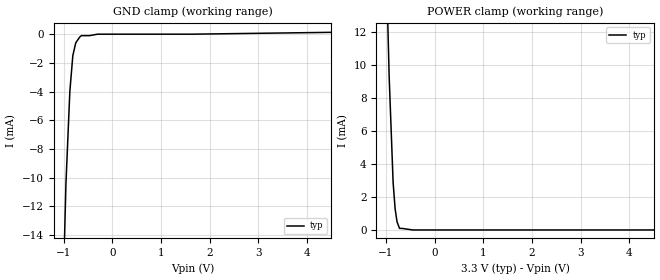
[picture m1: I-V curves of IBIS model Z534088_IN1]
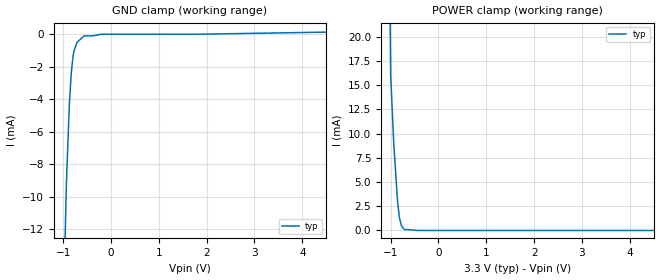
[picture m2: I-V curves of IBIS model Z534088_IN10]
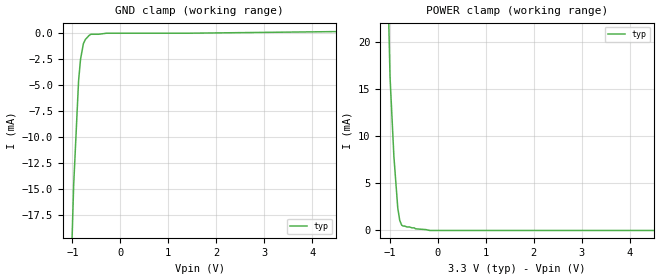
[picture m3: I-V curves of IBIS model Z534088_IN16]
| YOU ARE ONLY AUTHORIZED TO USE THIS SOFTWARE
| ACCORDING TO LICENSOR'S LICENSE RESTRICTIONS.
[IBIS Ver] 3.1
[File Name] mc100lvel56dw_33.ibs
[File Rev] 4.0
[Source] Measured and created by ICX Technology
[Date] 4/30/2004
[Copyright]
| (C) COPYRIGHT 1993-2000
| MENTOR GRAPHICS CORPORATION
| ICX STANDARD LIBRARY, ICX PROJECT MODELING,
| ICX CUSTOM MODELING, ICX VENDOR MODEL
| ALL RIGHTS RESERVED.
| THE FOLLOWING ARE TRADEMARKS OR SERVICE MARKS OF
| MENTOR GRAPHICS CORPORATION:ICX (R), ICX STANDARD
| LIBRARY(R), ICX PROJECT MODELING(R), ICX CUSTOM
| MODELING(R), qualityIBIS(TM), MODELVIEWER(TM),
| AND MODELEDITOR(TM)
| ALL COPIES OF SOFTWARE, INCLUDING BUT NOT LIMITED TO
| ANY MODIFICATIONS, ENHANCEMENTS OR DERIVATIVE WORKS,
| MUST CONTAIN ALL MENTOR GRAPHICS CORPORATION'S
| NOTICES AND LEGENDS, INCLUDING THOSE EMBEDDED IN
| SOFTWARE AND THOSE AFFIXED TO SOFTWARE MEDIUM
| AND CONTAINER, AS RECEIVED FROM MENTOR GRAPHICS
| CORPORATION.
|  ZAP Model Builder 2.7
[Component] MC100LVEL56DW_33
[Manufacturer] OnSemiconductor
[Package]
| variable   typ   min   max
R_pkg  .178ohms NA NA
L_pkg  4.43nH NA NA
C_pkg  .62pF NA NA
[Pin] signal_name  model_name  R_pin  L_pin C_pin
1 D0a Z534088_IN1 .186 5.37n .68p
2 _D0a Z534088_IN1 .182 4.89n .65p
3 VBB0 POWER .178 4.42n .62p
4 D0b Z534088_IN4 .174 3.96n .59p
5 _D0b Z534088_IN4 .17 3.51n .56p
6 D1a Z534088_IN7 .17 3.51n .56p
7 _D1a Z534088_IN7 .174 3.96n .59p
8 VBB1 POWER .178 4.42n .62p
9 D1b Z534088_IN10 .182 4.89n .65p
10 _D1b Z534088_IN10 .186 5.37n .68p
11 VEE POWER .186 5.37n .68p
12 _Q1 Z534088_OUT12 .182 4.89n .65p
13 Q1 Z534088_OUT13 .178 4.42n .62p
14 VCC POWER .174 3.96n .59p
15 SEL1 Z534088_IN16 .17 3.51n .56p
16 COM_SEL Z534088_IN16 .17 3.51n .56p
17 SEL0 Z534088_IN16 .174 3.96n .59p
18 _Q0 Z534088_OUT12 .178 4.42n .62p
19 Q0 Z534088_OUT13 .182 4.89n .65p
20 VCC POWER .186 5.37n .68p
[Diff Pin] inv_pin vdiff tdelay_typ tdelay_min tdelay_max
1 2 150mv NA NA NA
4 5 150mv NA NA NA
6 7 150mv NA NA NA
9 10 150mv NA NA NA
13 12 NA .525ns .400ns .650ns
19 18 NA .525ns .400ns .650ns
| Models and submodels in the file (7): Z534088_IN1 (Input_ECL), Z534088_IN10 (Input_ECL), Z534088_IN16 (Input_ECL), Z534088_IN4 (Input_ECL), Z534088_IN7 (Input_ECL), Z534088_OUT12 (Output_ECL), Z534088_OUT13 (Output_ECL)
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| (C) COPYRIGHT 1993-2000
| MENTOR GRAPHICS CORPORATION
| ICX STANDARD LIBRARY, ICX PROJECT MODELING,
| ICX CUSTOM MODELING, ICX VENDOR MODEL
| ALL RIGHTS RESERVED.
| THE FOLLOWING ARE TRADEMARKS OR SERVICE MARKS OF
| MENTOR GRAPHICS CORPORATION:ICX (R), ICX STANDARD
| LIBRARY(R), ICX PROJECT MODELING(R), ICX CUSTOM
| MODELING(R), qualityIBIS(TM), MODELVIEWER(TM),
| AND MODELEDITOR(TM)
| ALL COPIES OF SOFTWARE, INCLUDING BUT NOT LIMITED TO
| ANY MODIFICATIONS, ENHANCEMENTS OR DERIVATIVE WORKS,
| MUST CONTAIN ALL MENTOR GRAPHICS CORPORATION'S
| NOTICES AND LEGENDS, INCLUDING THOSE EMBEDDED IN
| SOFTWARE AND THOSE AFFIXED TO SOFTWARE MEDIUM
| AND CONTAINER, AS RECEIVED FROM MENTOR GRAPHICS
| CORPORATION.
| Model Application Version 1.89 2/18/99.
[Model] Z534088_IN1
Model_type Input_ECL
Vinl = 2.115V
Vinh = 2.301V
C_comp 2.000pF NA NA
| variable typ   min   max
[Voltage Range] 3.300V NA NA
[GND Clamp Reference] 0.000V NA NA
[POWER Clamp Reference] 3.300V NA NA
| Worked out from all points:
|   GND clamp passes 1 mA (typ) near -0.78 V on its own axis
|   POWER clamp passes 1 mA (typ) near -0.80 V on its own axis
[GND Clamp]
-3.3V     -538.5mA   NA         NA
-1.094V   -29.5mA    NA         NA
-952mV    -10.5mA    NA         NA
-871mV    -4mA       NA         NA
-810mV    -1.5mA     NA         NA
-749mV    -600uA     NA         NA
-668mV    -200uA     NA         NA
-632.7mV  -100uA     NA         NA
-465.7mV  -100uA     NA         NA
-298.7mV  0A         NA         NA
1.642V    0A         NA         NA
6.6V      224.4uA    NA         NA
[POWER Clamp]
-3.3V     880mA      NA         NA
-1.017V   18.68mA    NA         NA
-936mV    9.283mA    NA         NA
-855mV    2.886mA    NA         NA
-814mV    1.288mA    NA         NA
-774mV    489.9uA    NA         NA
-723mV    94.52uA    NA         NA
-448mV    0A         NA         NA
6.6V      0A         NA         NA
| (C) COPYRIGHT 1993-2000
| MENTOR GRAPHICS CORPORATION
| ICX STANDARD LIBRARY, ICX PROJECT MODELING,
| ICX CUSTOM MODELING, ICX VENDOR MODEL
| ALL RIGHTS RESERVED.
| THE FOLLOWING ARE TRADEMARKS OR SERVICE MARKS OF
| MENTOR GRAPHICS CORPORATION:ICX (R), ICX STANDARD
| LIBRARY(R), ICX PROJECT MODELING(R), ICX CUSTOM
| MODELING(R), qualityIBIS(TM), MODELVIEWER(TM),
| AND MODELEDITOR(TM)
| ALL COPIES OF SOFTWARE, INCLUDING BUT NOT LIMITED TO
| ANY MODIFICATIONS, ENHANCEMENTS OR DERIVATIVE WORKS,
| MUST CONTAIN ALL MENTOR GRAPHICS CORPORATION'S
| NOTICES AND LEGENDS, INCLUDING THOSE EMBEDDED IN
| SOFTWARE AND THOSE AFFIXED TO SOFTWARE MEDIUM
| AND CONTAINER, AS RECEIVED FROM MENTOR GRAPHICS
| CORPORATION.
| Model Application Version 1.89 2/18/99.
[Model] Z534088_IN10
Model_type Input_ECL
Vinl = 2.115V
Vinh = 2.301V
C_comp 2.000pF NA NA
| variable typ   min   max
[Voltage Range] 3.300V NA NA
[GND Clamp Reference] 0.000V NA NA
[POWER Clamp Reference] 3.300V NA NA
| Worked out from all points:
|   GND clamp passes 1 mA (typ) near -0.77 V on its own axis
|   POWER clamp passes 1 mA (typ) near -0.80 V on its own axis
[GND Clamp]
-3.3V     -610.9mA   NA         NA
-1.013V   -19.6mA    NA         NA
-932mV    -9.3mA     NA         NA
-871mV    -4.4mA     NA         NA
-830mV    -2.4mA     NA         NA
-790mV    -1.3mA     NA         NA
-770mV    -1mA       NA         NA
-709mV    -500uA     NA         NA
-562mV    -100uA     NA         NA
-207.5mV  0A         NA         NA
1.794V    0A         NA         NA
6.6V      235.9uA    NA         NA
[POWER Clamp]
-3.3V     790.2mA    NA         NA
-1.057V   42.87mA    NA         NA
-997mV    15.88mA    NA         NA
-936mV    9.18mA     NA         NA
-855mV    2.984mA    NA         NA
-814mV    1.286mA    NA         NA
-774mV    488.1uA    NA         NA
-713mV    94.06uA    NA         NA
-434.7mV  0A         NA         NA
6.6V      0A         NA         NA
| (C) COPYRIGHT 1993-2000
| MENTOR GRAPHICS CORPORATION
| ICX STANDARD LIBRARY, ICX PROJECT MODELING,
| ICX CUSTOM MODELING, ICX VENDOR MODEL
| ALL RIGHTS RESERVED.
| THE FOLLOWING ARE TRADEMARKS OR SERVICE MARKS OF
| MENTOR GRAPHICS CORPORATION:ICX (R), ICX STANDARD
| LIBRARY(R), ICX PROJECT MODELING(R), ICX CUSTOM
| MODELING(R), qualityIBIS(TM), MODELVIEWER(TM),
| AND MODELEDITOR(TM)
| ALL COPIES OF SOFTWARE, INCLUDING BUT NOT LIMITED TO
| ANY MODIFICATIONS, ENHANCEMENTS OR DERIVATIVE WORKS,
| MUST CONTAIN ALL MENTOR GRAPHICS CORPORATION'S
| NOTICES AND LEGENDS, INCLUDING THOSE EMBEDDED IN
| SOFTWARE AND THOSE AFFIXED TO SOFTWARE MEDIUM
| AND CONTAINER, AS RECEIVED FROM MENTOR GRAPHICS
| CORPORATION.
| Model Application Version 1.89 2/18/99.
[Model] Z534088_IN16
Model_type Input_ECL
Vinl = 2.115V
Vinh = 2.301V
C_comp 2.000pF NA NA
| variable typ   min   max
[Voltage Range] 3.300V NA NA
[GND Clamp Reference] 0.000V NA NA
[POWER Clamp Reference] 3.300V NA NA
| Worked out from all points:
|   GND clamp passes 1 mA (typ) near -0.77 V on its own axis
|   POWER clamp passes 1 mA (typ) near -0.79 V on its own axis
[GND Clamp]
-3.3V     -475.4mA   NA         NA
-1.074V   -30.2mA    NA         NA
-973mV    -14.6mA    NA         NA
-871mV    -4.6mA     NA         NA
-830mV    -2.5mA     NA         NA
-770mV    -1mA       NA         NA
-729mV    -600uA     NA         NA
-612.7mV  -100uA     NA         NA
-288.7mV  0A         NA         NA
1.419V    0A         NA         NA
6.6V      263.5uA    NA         NA
[POWER Clamp]
-3.3V     780.9mA    NA         NA
-1.139V   47.95mA    NA         NA
-997mV    16.35mA    NA         NA
-916mV    7.858mA    NA         NA
-835mV    2.362mA    NA         NA
-794mV    1.064mA    NA         NA
-754mV    566uA      NA         NA
-723.5mV  469.1uA    NA         NA
-490mV    279.4uA    NA         NA
-470mV    180.4uA    NA         NA
-164.7mV  0A         NA         NA
6.6V      0A         NA         NA
